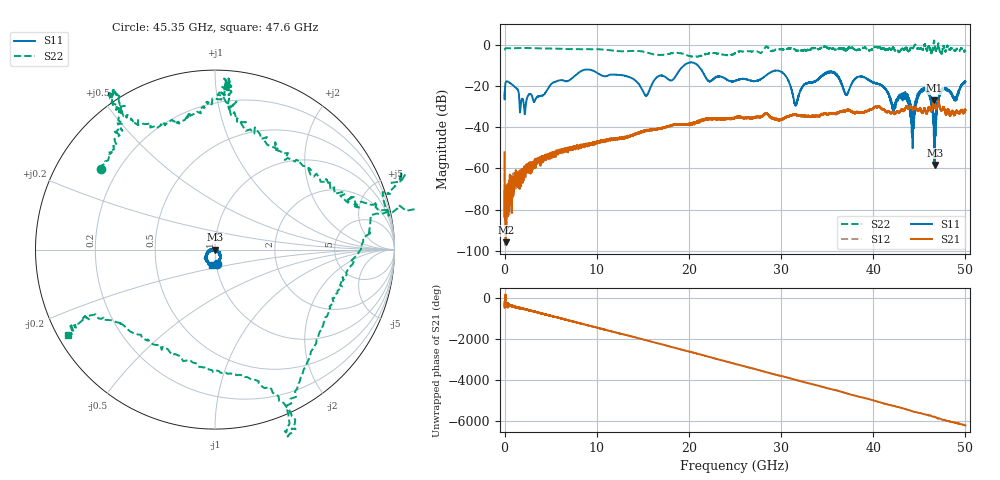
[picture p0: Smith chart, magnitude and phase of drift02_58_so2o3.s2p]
!Created with skrf (http://scikit-rf.org).
# Hz S RI R 50.0
!freq ReS11 ImS11 ReS21 ImS21 ReS12 ImS12 ReS22 ImS22
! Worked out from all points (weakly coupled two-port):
!   10001 points, 300 kHz to 50 GHz, reference 50 ohm
!   highest |S21| = -26.90 dB at 46.61 GHz (marker M1); lowest = -96.0 dB at 155.3 MHz (marker M2)
!   lowest |S11| = -58.3 dB at 46.67 GHz (marker M3), VSWR 1.00, Z = 50.1 - j0.0523 ohm
!   |S11| at or under -10 dB: start of sweep to 19.42 GHz; 21.01 GHz to end of sweep
!   |S22| runs from -5.7 to 2.3 dB; largest |S21 - S12| = 0.0033
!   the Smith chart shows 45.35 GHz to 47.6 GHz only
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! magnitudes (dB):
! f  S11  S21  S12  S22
! 300 kHz  -22.8  -52.1  -57.6  -2.0
! 155.3 MHz  -17.7  -96.0  -80.2  -1.4
! 2.185 GHz  -33.5  -61.3  -61.7  -1.3
! 8.335 GHz  -12.5  -49.8  -49.0  -1.9
! 15.34 GHz  -24.6  -41.6  -41.5  -3.3
! 16.67 GHz  -15.1  -40.8  -40.7  -4.7
! 20.3 GHz  -8.4  -38.3  -38.3  -5.5
! 25 GHz  -17.3  -35.3  -35.5  -3.9
! 29.84 GHz  -12.6  -36.4  -36.4  -2.0
! 31.59 GHz  -29.0  -33.6  -34.0  -2.4
! 33.34 GHz  -18.1  -34.3  -34.5  -1.6
! 35.61 GHz  -13.0  -33.3  -33.2  -1.6
! 37.1 GHz  -24.2  -31.8  -31.6  -2.3
! 38.76 GHz  -15.3  -32.6  -32.6  -1.0
! 41.67 GHz  -24.0  -32.1  -32.1  -1.9
! 43.55 GHz  -24.4  -30.1  -30.0  -1.1
! 44.26 GHz  -42.0  -31.2  -31.1  -1.4
! 45.7 GHz  -22.0  -32.8  -32.5  -0.9
! 46.61 GHz  -41.1  -26.9  -27.0  2.0
! 46.67 GHz  -58.3  -28.7  -28.4  0.4
! 47.46 GHz  -22.0  -31.7  -31.7  -3.6
! 50 GHz  -17.9  -31.8  -31.5  -2.7
